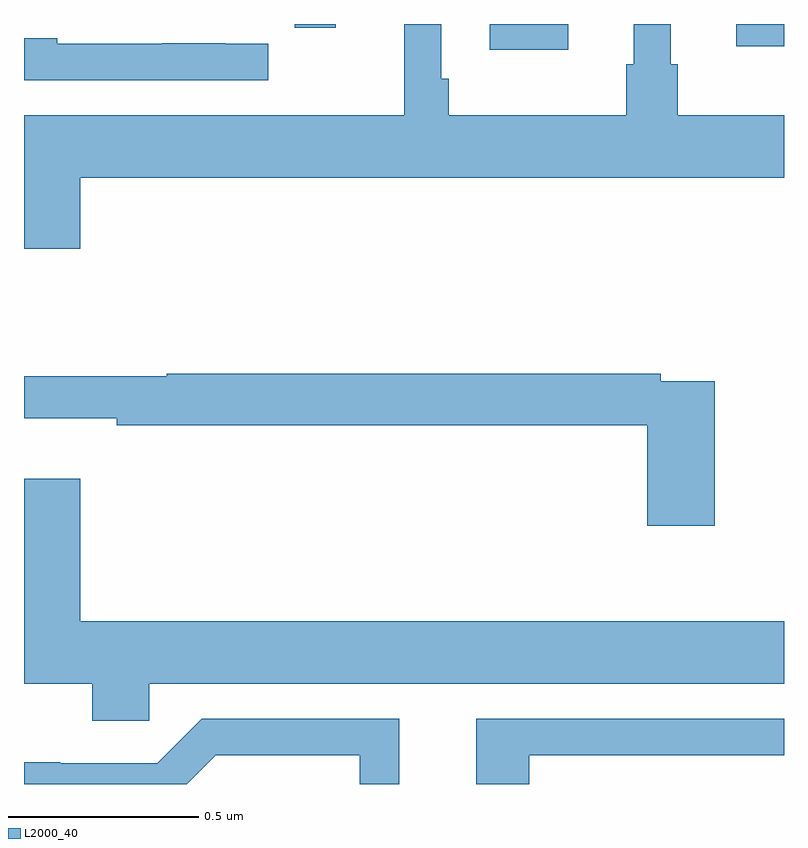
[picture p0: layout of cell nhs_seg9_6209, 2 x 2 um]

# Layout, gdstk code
import gdstk
lib = gdstk.Library(unit=1e-6, precision=1e-09)
def R(c, l, rs):  # rectangles x0, y0, x1, y1
    for r in rs: c.add(gdstk.rectangle(r[:2], r[2:], *l))
def P(c, l, *ps):  # polygons
    for p in ps: c.add(gdstk.Polygon(p, *l))
L2000_40 = (2000, 40)

nhs_seg9_6209 = lib.new_cell('nhs_seg9_6209')
R(nhs_seg9_6209, L2000_40, [(190.226,1187.432,190.432,1187.5), (190.874,1187.442,191,1187.5), (189.712,1187.49,189.821,1187.5)])
P(nhs_seg9_6209, L2000_40, [(189.148,1187.096),(191,1187.096),(191,1187.26),(190.721,1187.26),(190.721,1187.394),(190.702,1187.394),(190.702,1187.5),(190.604,1187.5),(190.604,1187.394),(190.585,1187.394),(190.585,1187.26),(190.118,1187.26),(190.118,1187.356),(190.098,1187.356),(190.098,1187.5),(190.001,1187.5),(190.001,1187.26),(189,1187.26),(189,1186.908),(189.148,1186.908)],
  [(189.643,1187.448),(189.53,1187.448),(189.53,1187.449),(189.364,1187.449),(189.364,1187.448),(189.088,1187.448),(189.088,1187.463),(189,1187.463),(189,1187.352),(189.643,1187.352)],
  [(190.818,1186.56),(190.676,1186.56),(190.676,1186.58),(189.376,1186.58),(189.376,1186.573),(189,1186.573),(189,1186.463),(189.244,1186.463),(189.244,1186.444),(190.64,1186.444),(190.64,1186.179),(190.818,1186.179)],
  [(189.33,1185.764),(191,1185.764),(191,1185.928),(189.148,1185.928),(189.148,1186.303),(189,1186.303),(189,1185.764),(189.179,1185.764),(189.179,1185.666),(189.33,1185.666)],
  [(190.33,1185.576),(191,1185.576),(191,1185.672),(190.19,1185.672),(190.19,1185.5),(190.33,1185.5)],
  [(189.504,1185.576),(189.884,1185.576),(189.884,1185.5),(189.988,1185.5),(189.988,1185.672),(189.468,1185.672),(189.351,1185.555),(189.095,1185.555),(189.095,1185.557),(189,1185.557),(189,1185.5),(189.428,1185.5)])

lib.write_gds('nhs_seg9_6209.gds')
